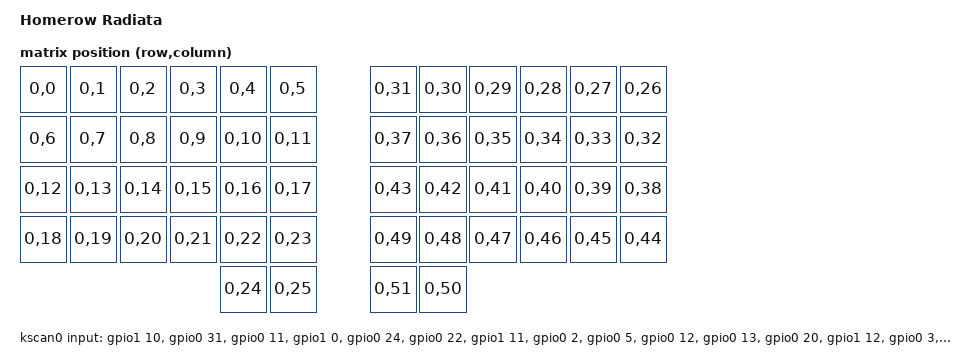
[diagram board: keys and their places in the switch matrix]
/*
*
* Copyright (c) 2023 The ZMK Contributors
* SPDX-License-Identifier: MIT
*
*/

/dts-v1/;
#include <nordic/nrf52840_qiaa.dtsi>

#include <dt-bindings/zmk/matrix_transform.h>

#include "radiata-layouts.dtsi"

&physical_layout0 {
    transform = <&matrix_transform0>;
};

/ {
    model = "Homerow Radiata";
    compatible = "radiata";

    chosen {
        zephyr,code-partition = &code_partition;
        zephyr,sram = &sram0;
        zephyr,flash = &flash0;
        zmk,battery = &vbatt;
        zmk,physical-layout = &physical_layout0;
        zmk,kscan = &kscan0;
    };

    kscan0: kscan {
        compatible = "zmk,kscan-gpio-direct";
        wakeup-source;
        input-gpios
            = <&gpio1 10 (GPIO_ACTIVE_LOW | GPIO_PULL_UP)>
            , <&gpio0 31 (GPIO_ACTIVE_LOW | GPIO_PULL_UP)>
            , <&gpio0 11 (GPIO_ACTIVE_LOW | GPIO_PULL_UP)>
            , <&gpio1 0 (GPIO_ACTIVE_LOW | GPIO_PULL_UP)>
            , <&gpio0 24 (GPIO_ACTIVE_LOW | GPIO_PULL_UP)>
            , <&gpio0 22 (GPIO_ACTIVE_LOW | GPIO_PULL_UP)>

            , <&gpio1 11 (GPIO_ACTIVE_LOW | GPIO_PULL_UP)>
            , <&gpio0 2 (GPIO_ACTIVE_LOW | GPIO_PULL_UP)>
            , <&gpio0 5 (GPIO_ACTIVE_LOW | GPIO_PULL_UP)>
            , <&gpio0 12 (GPIO_ACTIVE_LOW | GPIO_PULL_UP)>
            , <&gpio0 13 (GPIO_ACTIVE_LOW | GPIO_PULL_UP)>
            , <&gpio0 20 (GPIO_ACTIVE_LOW | GPIO_PULL_UP)>
            
            , <&gpio1 12 (GPIO_ACTIVE_LOW | GPIO_PULL_UP)>
            , <&gpio0 3 (GPIO_ACTIVE_LOW | GPIO_PULL_UP)>
            , <&gpio0 30 (GPIO_ACTIVE_LOW | GPIO_PULL_UP)>
            , <&gpio0 27 (GPIO_ACTIVE_LOW | GPIO_PULL_UP)>
            , <&gpio0 6 (GPIO_ACTIVE_LOW | GPIO_PULL_UP)>
            , <&gpio0 16 (GPIO_ACTIVE_LOW | GPIO_PULL_UP)>
            
            , <&gpio1 13 (GPIO_ACTIVE_LOW | GPIO_PULL_UP)>
            , <&gpio1 14 (GPIO_ACTIVE_LOW | GPIO_PULL_UP)>
            , <&gpio0 28 (GPIO_ACTIVE_LOW | GPIO_PULL_UP)>
            , <&gpio0 26 (GPIO_ACTIVE_LOW | GPIO_PULL_UP)>
            , <&gpio0 7 (GPIO_ACTIVE_LOW | GPIO_PULL_UP)>
            , <&gpio0 15 (GPIO_ACTIVE_LOW | GPIO_PULL_UP)>

            , <&gpio1 8 (GPIO_ACTIVE_LOW | GPIO_PULL_UP)>
            , <&gpio1 9 (GPIO_ACTIVE_LOW | GPIO_PULL_UP)>
            ;
    };

    matrix_transform0: keymap_transform_0 {
        compatible = "zmk,matrix-transform";
        columns = <52>;
        rows = <1>;

        map = <
            RC(0,0)  RC(0,1)  RC(0,2)  RC(0,3)  RC(0,4)  RC(0,5)            RC(0,31) RC(0,30) RC(0,29) RC(0,28) RC(0,27) RC(0,26)
            RC(0,6)  RC(0,7)  RC(0,8)  RC(0,9)  RC(0,10) RC(0,11)           RC(0,37) RC(0,36) RC(0,35) RC(0,34) RC(0,33) RC(0,32)
            RC(0,12) RC(0,13) RC(0,14) RC(0,15) RC(0,16) RC(0,17)           RC(0,43) RC(0,42) RC(0,41) RC(0,40) RC(0,39) RC(0,38)
            RC(0,18) RC(0,19) RC(0,20) RC(0,21) RC(0,22) RC(0,23)           RC(0,49) RC(0,48) RC(0,47) RC(0,46) RC(0,45) RC(0,44)
                                                RC(0,24) RC(0,25)           RC(0,51) RC(0,50)
        >;
    };

    vbatt: vbatt {
        compatible = "zmk,battery-nrf-vddh";
    };
};

&adc {
    status = "okay";
};

&gpiote {
    status = "okay";
};

&gpio0 {
    status = "okay";
};

&gpio1 {
    status = "okay";
};

zephyr_udc0: &usbd {
    status = "okay";
};

&flash0 {
    /*
     * For more information, see:
     * http://docs.zephyrproject.org/latest/devices/dts/flash_partitions.html
     */
    partitions {
        compatible = "fixed-partitions";
        #address-cells = <1>;
        #size-cells = <1>;

        sd_partition: partition@0 {
            reg = <0x00000000 0x00026000>;
        };
        code_partition: partition@26000 {
            reg = <0x00026000 0x000c6000>;
        };

        /*
         * The flash starting at 0x000ec000 and ending at
         * 0x000f3fff is reserved for use by the application.
         */

        /*
         * Storage partition will be used by FCB/LittleFS/NVS
         * if enabled.
         */
        storage_partition: partition@ec000 {
            reg = <0x000ec000 0x00008000>;
        };

        boot_partition: partition@f4000 {
            reg = <0x000f4000 0x0000c000>;
        };
    };
};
